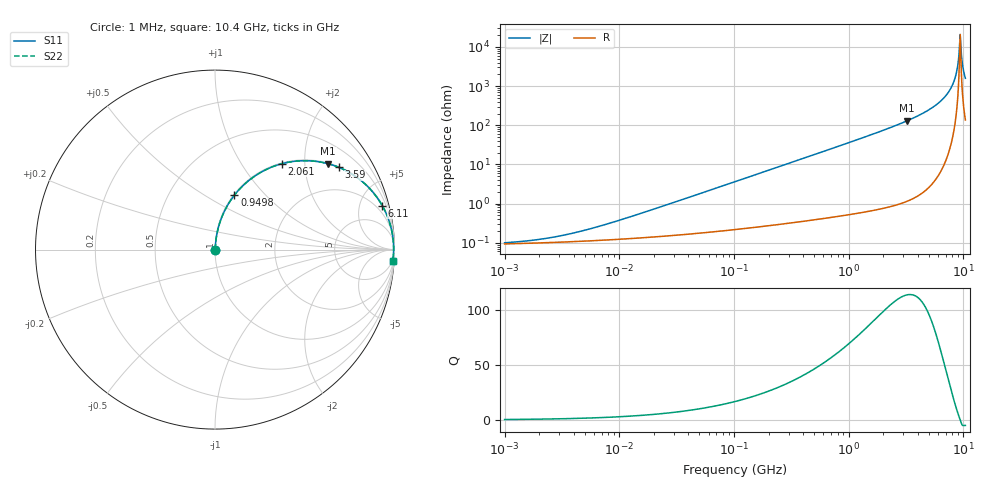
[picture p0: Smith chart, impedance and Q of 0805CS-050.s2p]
# MHz S MA R 50
!Freq  MagS11  AngS11  MagS21  AngS21  MagS12  AngS12  MagS22  AngS22
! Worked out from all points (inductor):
!   801 points, 1 MHz to 10.4 GHz, reference 50 ohm
!   read as one part in series: L = 5.66 nH near 10.58 MHz
!   highest Q = 114 at 3.235 GHz (marker M1), where L = 6.43 nH
!   self-resonance near 9.264 GHz
!   S11 on the Smith chart (normalised r, x): 1 MHz: 1.00, +0.00; 949.8 MHz: 1.01, +0.68; 2.061 GHz: 1.02, +1.54; 3.59 GHz: 1.03, +2.99; 6.11 GHz: 1.11, +7.56; 10.4 GHz: 4, -32
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1  0.001 20.8  0.9991 -0.0  0.9991 -0.0  0.001 20.8
2.220594  0.001275 38.2  0.999 -0.0  0.999 -0.0  0.001275 38.2
4.70818  0.001998 56.7  0.9989 -0.1  0.9989 -0.1  0.001998 56.7
21.91214  0.007912 79.1  0.9985 -0.4  0.9985 -0.4  0.007912 79.1
101.9804  0.03623 84.5  0.9972 -2.1  0.9972 -2.1  0.03623 84.5
480.1421  0.1682 79.1  0.982 -9.7  0.982 -9.7  0.1682 79.1
949.7864  0.3216 70.4  0.9421 -18.8  0.9421 -18.8  0.3216 70.4
2060.879  0.6073 52.0  0.7884 -37.4  0.7884 -37.4  0.6073 52.0
2234.609  0.6413 49.6  0.7611 -39.9  0.7611 -39.9  0.6413 49.6
3235.064  0.7907 37.2  0.6053 -52.2  0.6053 -52.2  0.7907 37.2
3589.835  0.8281 33.6  0.5534 -55.9  0.5534 -55.9  0.8281 33.6
4848.731  0.9171 22.9  0.3894 -66.5  0.3894 -66.5  0.9171 22.9
6110.179  0.9633 14.8  0.2547 -74.4  0.2547 -74.4  0.9633 14.8
7183.763  0.9835 9.1  0.1586 -79.5  0.1586 -79.5  0.9835 9.1
8064.267  0.9919 5.1  0.08966 -82.2  0.08966 -82.2  0.9919 5.1
8544.2  0.9941 3.2  0.05518 -82.3  0.05518 -82.3  0.9941 3.2
8744.077  0.9947 2.4  0.04143 -81.5  0.04143 -81.5  0.9947 2.4
9052.694  0.9952 1.2  0.02097 -76.2  0.02097 -76.2  0.9952 1.2
9264.467  0.9953 0.4  0.008148 -54.3  0.008148 -54.3  0.9953 0.4
9591.451  0.995 -0.8  0.0149 70.0  0.0149 70.0  0.995 -0.8
10045.45  0.9939 -2.4  0.042 80.5  0.042 80.5  0.9939 -2.4
10400  0.9926 -3.6  0.0626 81.5  0.0626 81.5  0.9926 -3.6
